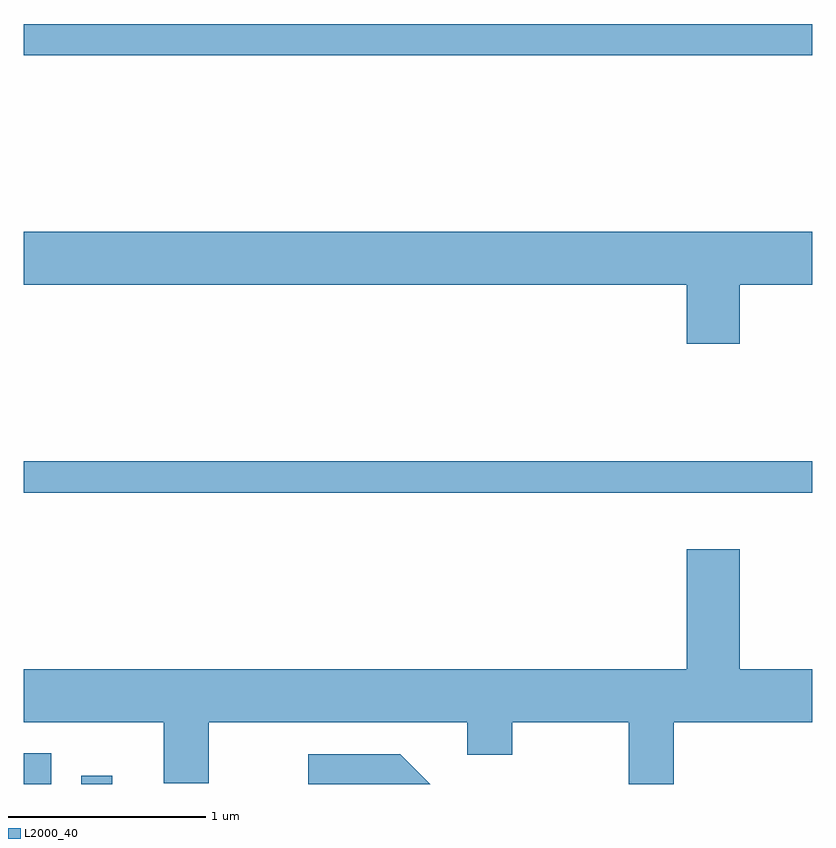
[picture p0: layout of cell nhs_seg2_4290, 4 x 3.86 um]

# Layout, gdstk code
import gdstk
lib = gdstk.Library(unit=1e-6, precision=1e-09)
def R(c, l, rs):  # rectangles x0, y0, x1, y1
    for r in rs: c.add(gdstk.rectangle(r[:2], r[2:], *l))
def P(c, l, *ps):  # polygons
    for p in ps: c.add(gdstk.Polygon(p, *l))
L2000_40 = (2000, 40)

nhs_seg2_4290 = lib.new_cell('nhs_seg2_4290')
R(nhs_seg2_4290, L2000_40, [(311.611,1025.802,311.749,1025.959), (311.901,1025.802,312.059,1025.843), (311.611,1027.281,315.611,1027.439), (311.611,1029.501,315.611,1029.659)])
P(nhs_seg2_4290, L2000_40, [(315.244,1028.336),(315.611,1028.336),(315.611,1028.604),(311.611,1028.604),(311.611,1028.336),(314.976,1028.336),(314.976,1028.036),(315.244,1028.036)],
  [(314.909,1026.116),(315.611,1026.116),(315.611,1026.384),(315.244,1026.384),(315.244,1026.994),(314.976,1026.994),(314.976,1026.384),(311.611,1026.384),(311.611,1026.116),(312.321,1026.116),(312.321,1025.806),(312.549,1025.806),(312.549,1026.116),(313.861,1026.116),(313.861,1025.951),(314.089,1025.951),(314.089,1026.116),(314.681,1026.116),(314.681,1025.802),(314.909,1025.802)],
  [(313.522,1025.954),(313.053,1025.954),(313.053,1025.802),(313.674,1025.802)])

lib.write_gds('nhs_seg2_4290.gds')
